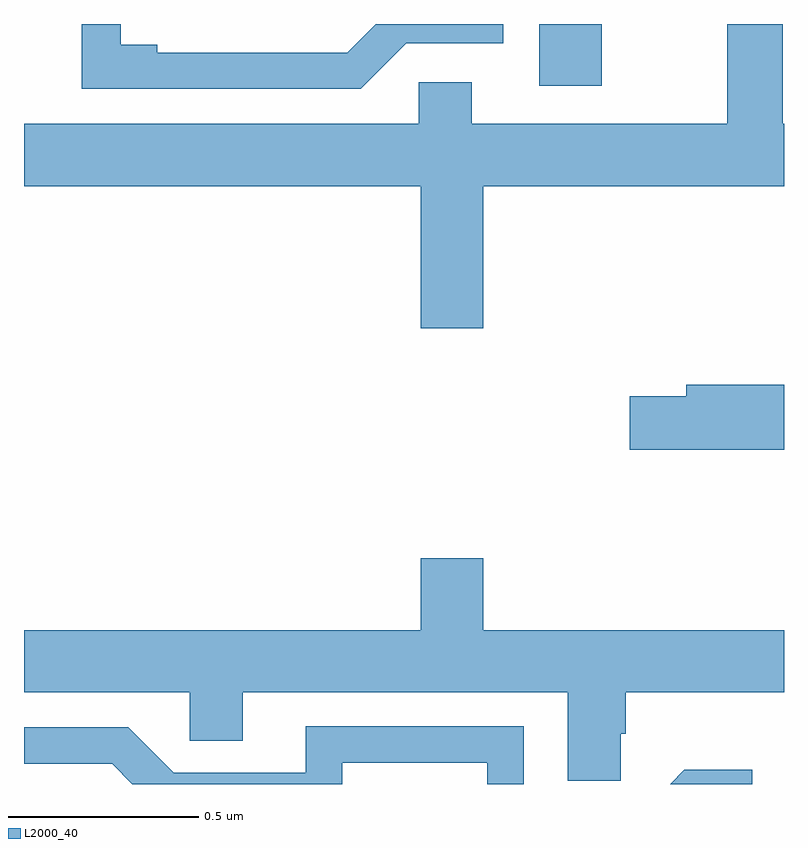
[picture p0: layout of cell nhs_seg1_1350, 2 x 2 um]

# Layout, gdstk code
import gdstk
lib = gdstk.Library(unit=1e-6, precision=1e-09)
def R(c, l, rs):  # rectangles x0, y0, x1, y1
    for r in rs: c.add(gdstk.rectangle(r[:2], r[2:], *l))
def P(c, l, *ps):  # polygons
    for p in ps: c.add(gdstk.Polygon(p, *l))
L2000_40 = (2000, 40)

nhs_seg1_1350 = lib.new_cell('nhs_seg1_1350')
R(nhs_seg1_1350, L2000_40, [(129.356,512.037,129.52,512.199)])
P(nhs_seg1_1350, L2000_40, [(129.208,511.772),(130,511.772),(130,511.936),(129.997,511.936),(129.997,512.199),(129.85,512.199),(129.85,511.936),(129.178,511.936),(129.178,512.046),(129.039,512.046),(129.039,511.936),(128,511.936),(128,511.772),(129.044,511.772),(129.044,511.398),(129.208,511.398)],
  [(129.006,512.148),(129.261,512.148),(129.261,512.199),(128.925,512.199),(128.85,512.124),(128.35,512.124),(128.35,512.144),(128.254,512.144),(128.254,512.199),(128.152,512.199),(128.152,512.028),(128.886,512.028)],
  [(130,511.25),(129.743,511.25),(129.743,511.22),(129.594,511.22),(129.594,511.078),(130,511.078)],
  [(129.57,510.331),(129.584,510.331),(129.584,510.44),(130,510.44),(130,510.604),(129.208,510.604),(129.208,510.793),(129.044,510.793),(129.044,510.604),(128,510.604),(128,510.44),(128.436,510.44),(128.436,510.313),(128.575,510.313),(128.575,510.44),(129.431,510.44),(129.431,510.208),(129.57,510.208)],
  [(128.838,510.255),(129.219,510.255),(129.219,510.199),(129.315,510.199),(129.315,510.351),(128.741,510.351),(128.741,510.228),(128.394,510.228),(128.274,510.348),(128,510.348),(128,510.252),(128.232,510.252),(128.285,510.199),(128.838,510.199)],
  [(129.916,510.236),(129.737,510.236),(129.7,510.199),(129.916,510.199)])

lib.write_gds('nhs_seg1_1350.gds')
